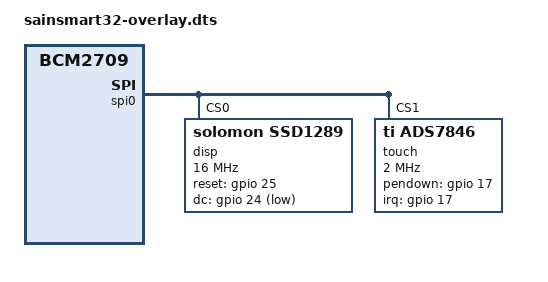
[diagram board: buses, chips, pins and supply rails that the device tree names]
/*
 * Device Tree overlay for Sainsmart 3.2" Display by Alexander Lehmann
 *
 */

/dts-v1/;
/plugin/;

/ {
	compatible = "brcm,bcm2835", "brcm,bcm2708", "brcm,bcm2709";

	fragment@0 {
		target = <&spi0>;
		__overlay__ {
			status = "okay";

			spidev@0{
				status = "disabled";
			};

			spidev@1{
				status = "disabled";
			};
		};
	};

	fragment@1 {
		target = <&gpio>;
		__overlay__ {
			disp_pins: disp_pins {
				brcm,pins = <17 24 25>;
				brcm,function = <0 1 1>; /* in out out */
			};
		};
	};

	fragment@2 {
		target = <&spi0>;
		__overlay__ {
			/* needed to avoid dtc warning */
			#address-cells = <1>;
			#size-cells = <0>;

			disp: disp@0{
				compatible = "solomon,ssd1289";
				reg = <0>;

				pinctrl-names = "default";
				pinctrl-0 = <&disp_pins>;
				buswidth = <8>;
				bgr;

				spi-max-frequency = <16000000>;
				rotate = <90>;
				reset-gpios = <&gpio 25 0>;
				dc-gpios = <&gpio 24 1>;
				debug = <3>;
			};

			touch: touch@1 {
				compatible = "ti,ads7846";
				reg = <1>;
				
				spi-max-frequency = <2000000>;
				interrupts = <17 2>;
				interrupt-parent = <&gpio>;
				pendown-gpio = <&gpio 17 0>;

				ti,x-min = /bits/ 16 <300>;
				ti,x-max = /bits/ 16 <3800>;
				ti,y-min = /bits/ 16 <700>;
				ti,y-max = /bits/ 16 <3400>;

				ti,keep-vref-on;
				ti,swap-xy;
				ti,x-plate-ohms = /bits/ 16 <60>;
				ti,pressure-max = /bits/ 16 <255>;
			};
		};
	};
	__overrides__ {
		speed =		<&disp>,"spi-max-frequency:0";
		rotate =	<&disp>,"rotate:0";
		debug =		<&disp>,"debug:0";
		xohms =		<&touch>,"ti,x-plate-ohms;0";
		resetgpio =	<&disp>,"reset-gpios:4",
				<&disp_pins>, "brcm,pins:1";
		dcgpio =	<&disp>,"dc-gpios:4",
				<&disp_pins>, "brcm,pins:2";
	};
};
